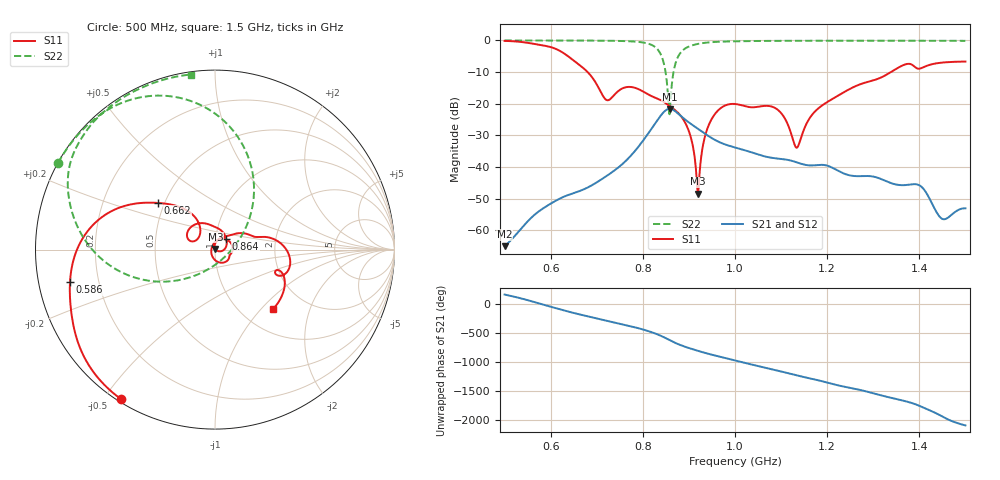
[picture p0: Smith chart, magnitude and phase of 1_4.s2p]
! TOUCHSTONE file generated by CST MICROWAVE STUDIO
! Date and time: Wed Oct 28 19:13:26 2020
! Project name: Scenario_1_Circular_Tissue_out_of_Line.cst
! Parameters = {dy1=-346; L_HA=400; MT=2.54; Rad_Dielectric=30; Rad_Lower=7.3; Rad_Upper=30; a_HA=580; a_WG=246; b_HA=500; b_WG=121; c_HA=0; c_WG=187; d_feed=85; dx1=693; h_feed=15; h_lower=18; h_upper=40}
! Header version: 2018
! Port assignment regex: !\s*Touchstone port\s*([0-9]+)\s*=\s*(CST MWS port|CST DS port)\s*([0-9]+|Zmin|Zmax)\s*\(\"(.*)\"\)(\s*mode\s*([0-9]+))?.*
! Touchstone port assignment:
! Touchstone port 1 = CST MWS port 1 ("")
! Touchstone port 2 = CST MWS port 2 ("")
# GHz S DB R 50
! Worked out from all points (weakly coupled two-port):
!   1001 points, 500 MHz to 1.5 GHz, reference 50 ohm
!   highest |S21| = -21.64 dB at 858 MHz (marker M1); lowest = -65.1 dB at 500 MHz (marker M2)
!   lowest |S11| = -48.5 dB at 920 MHz (marker M3), VSWR 1.01, Z = 50.3 + j0.28 ohm
!   |S11| at or under -10 dB: 680.1 MHz to 1.338 GHz (658.2 MHz wide, 65.2 % of centre)
!   |S22| runs from -23.3 to 0.0 dB; largest |S21 - S12| = 1.9e-05
!   S11 on the Smith chart (normalised r, x): 500 MHz: 0.01, -0.55; 586 MHz: 0.10, -0.11; 662 MHz: 0.46, +0.29; 864 MHz: 1.13, +0.13; 1.5 GHz: 1.38, -1.17
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0.5  -0.14 -122.3  -65.08 161.1  -65.08 161.1  -0.01 151.1
0.586  -1.64 -167.5  -52.89 -17.9  -52.89 -17.9  -0.02 145.2
0.662  -7.71 140.8  -47.68 179.9  -47.68 179.9  -0.04 138.8
0.667  -8.29 138.1  -47.40 170.6  -47.40 170.6  -0.04 138.4
0.721  -18.83 140.3  -42.91 72.2  -42.91 72.2  -0.09 132.2
0.792  -15.51 118.6  -33.32 -62.3  -33.32 -62.3  -0.49 116.2
0.834  -18.55 80.1  -24.75 -172.5  -24.75 -172.5  -3.20 83.4
0.858  -20.75 50.2  -21.64 95.4  -21.64 95.4  -23.35 -59.3
0.864  -21.39 42.5  -21.84 71.2  -21.84 71.2  -12.52 -136.3
0.876  -22.84 25.0  -23.07 28.1  -23.07 28.1  -5.28 -167.1
0.899  -28.35 -12.2  -25.84 -37.9  -25.84 -37.9  -1.99 168.4
0.92  -48.51 47.9  -28.00 -90.2  -28.00 -90.2  -1.08 158.1
0.933  -31.44 93.7  -29.32 -120.2  -29.32 -120.2  -0.78 153.7
0.947  -25.51 73.7  -30.67 -150.3  -30.67 -150.3  -0.57 149.8
1  -20.10 1.5  -33.85 106.0  -33.85 106.0  -0.28 140.2
1.09  -21.64 -62.2  -37.32 -65.4  -37.32 -65.4  -0.13 130.6
1.134  -33.93 168.0  -38.56 -152.3  -38.56 -152.3  -0.11 126.9
1.167  -23.57 67.4  -39.54 149.4  -39.54 149.4  -0.10 124.2
1.334  -10.38 13.1  -44.87 -170.0  -44.87 -170.0  -0.09 111.5
1.402  -8.88 -18.8  -46.00 36.9  -46.00 36.9  -0.10 106.2
1.451  -6.99 -31.4  -56.51 -145.6  -56.51 -145.3  -0.11 102.1
1.5  -6.68 -46.0  -53.09 64.9  -53.11 65.3  -0.13 97.9
